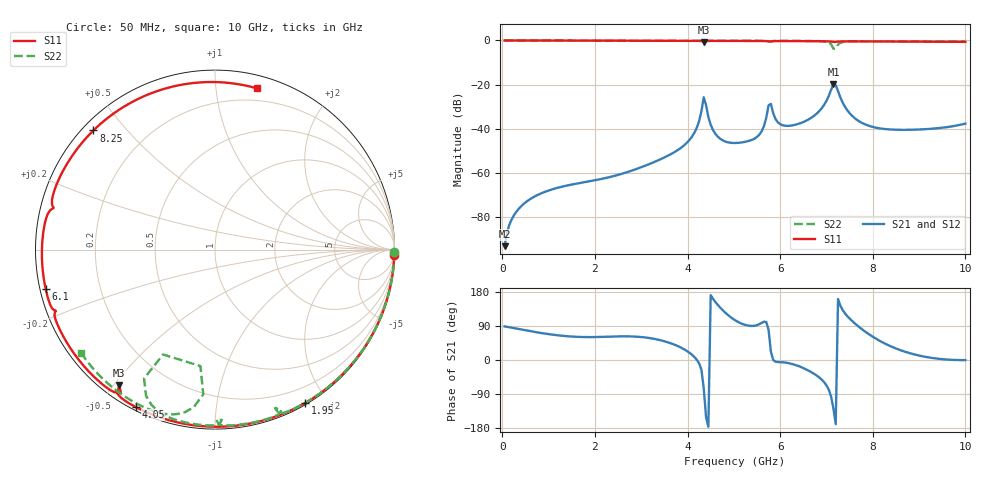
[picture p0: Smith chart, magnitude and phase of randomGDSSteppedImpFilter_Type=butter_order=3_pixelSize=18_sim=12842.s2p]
! freq	dB(S11)	phase(S11)	dB(S12)	phase(S12)
!  dB(S21)	phase(S21)	dB(S22)	phase(S22)
!S-par simulation data
#  GHz  S  DB  R 50
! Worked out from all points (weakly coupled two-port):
!   200 points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, 50 MHz to 10 GHz, reference 50 ohm
!   highest |S21| = -19.90 dB at 7.15 GHz (marker M1); lowest = -93.1 dB at 50 MHz (marker M2)
!   lowest |S11| = -0.7 dB at 4.35 GHz (marker M3), VSWR 25.31, Z = 2.5 - j25.8 ohm
!   |S11| at or under -10 dB: nowhere
!   |S22| runs from -3.7 to 0.0 dB; largest |S21 - S12| = 0
!   S11 on the Smith chart (normalised r, x): 50 MHz: 1, -71; 1.95 GHz: 0.02, -1.75; 4.05 GHz: 0.01, -0.62; 6.1 GHz: 0.02, -0.11; 8.25 GHz: 0.03, +0.41; 10 GHz: 0.10, +1.29
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0.05  -0.00 -1.6  -93.06 88.7  -93.06 88.7  -0.00 -0.8
0.8  -0.03 -25.0  -69.53 71.9  -69.53 71.9  -0.02 -13.1
1.75  -0.07 -53.7  -64.21 60.6  -64.21 60.6  -0.04 -28.4
1.95  -0.07 -59.6  -63.44 60.5  -63.44 60.5  -0.04 -31.6
3.4  -0.13 -99.7  -53.91 52.6  -53.91 52.6  -0.07 -54.1
4.05  -0.16 -116.7  -44.79 18.3  -44.79 18.3  -0.09 -64.1
4.25  -0.20 -122.4  -36.49 -8.9  -36.49 -8.9  -0.12 -67.5
4.35  -0.69 -125.3  -25.70 -74.4  -25.70 -74.4  -0.50 -69.2
4.6  -0.19 -129.7  -42.19 153.3  -42.19 153.3  -0.11 -71.5
5.05  -0.21 -141.1  -46.37 103.3  -46.37 103.3  -0.12 -78.3
5.55  -0.24 -153.7  -42.65 94.6  -42.65 94.6  -0.15 -85.9
5.8  -0.42 -158.8  -28.70 22.0  -28.70 22.0  -0.45 -87.7
5.9  -0.28 -161.6  -35.56 -4.6  -35.56 -4.6  -0.19 -89.7
6.1  -0.28 -166.9  -38.58 -6.5  -38.58 -6.5  -0.17 -93.1
6.7  -0.32 177.7  -34.59 -33.9  -34.59 -33.9  -0.24 -103.2
7  -0.39 169.5  -27.32 -66.8  -27.32 -66.8  -0.58 -112.2
7.15  -0.64 165.6  -19.90 -127.9  -19.90 -127.9  -3.72 -116.3
7.25  -0.52 164.6  -22.94 160.8  -22.94 160.8  -1.84 -94.6
7.6  -0.41 154.4  -34.97 97.9  -34.97 97.9  -0.37 -108.0
8.25  -0.46 135.6  -40.04 44.1  -40.04 44.1  -0.34 -118.6
8.35  -0.47 132.5  -40.23 38.2  -40.23 38.2  -0.34 -120.0
10  -0.65 75.4  -37.62 -0.3  -37.62 -0.3  -0.52 -142.2
